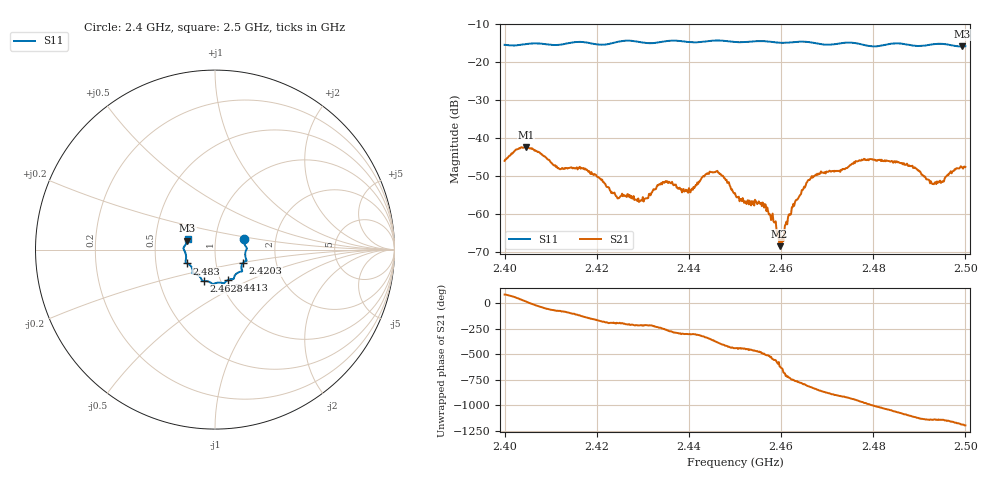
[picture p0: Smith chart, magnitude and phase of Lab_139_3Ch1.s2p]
# Hz S RI R 50
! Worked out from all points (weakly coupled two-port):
!   601 points, 2.4 GHz to 2.5 GHz, reference 50 ohm
!   highest |S21| = -42.23 dB at 2.4047 GHz (marker M1); lowest = -68.4 dB at 2.4597 GHz (marker M2)
!   lowest |S11| = -15.8 dB at 2.4993 GHz (marker M3), VSWR 1.39, Z = 36.5 + j3.72 ohm
!   |S11| at or under -10 dB: start of sweep to end of sweep
!   S12 and S22 are empty: the file has one direction only
!   S11 on the Smith chart (normalised r, x): 2.4 GHz: 1.37, +0.16; 2.4203 GHz: 1.35, -0.21; 2.4413 GHz: 1.09, -0.38; 2.4628 GHz: 0.83, -0.30; 2.483 GHz: 0.72, -0.11; 2.5 GHz: 0.73, +0.09
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2.4e9  0.161 0.0566  0.000605 0.00503  0 0  0 0
2.404667e9  0.1739 0.0144  0.00747 0.002  0 0  0 0
2.411667e9  0.1681 -0.0282  0.000869 -0.00398  0 0  0 0
2.416667e9  0.1759 -0.0615  -0.0025 -0.00324  0 0  0 0
2.420333e9  0.1554 -0.074  -0.00306 -0.000465  0 0  0 0
2.4245e9  0.1494 -0.112  -0.00156 0.000452  0 0  0 0
2.429167e9  0.1397 -0.1236  -0.00112 0.000927  0 0  0 0
2.433333e9  0.108 -0.1483  -0.00129 0.00203  0 0  0 0
2.441333e9  0.0744 -0.1684  0.00134 0.00191  0 0  0 0
2.446e9  0.0494 -0.1883  0.00341 -0.00139  0 0  0 0
2.45e9  0.0292 -0.1838  0.000264 -0.00188  0 0  0 0
2.4565e9  -0.0147 -0.1899  -0.00111 -0.000784  0 0  0 0
2.459667e9  -0.0363 -0.1782  -6.84e-05 0.000375  0 0  0 0
2.460167e9  -0.0407 -0.1766  6.32e-05 0.000397  0 0  0 0
2.462833e9  -0.0627 -0.1746  0.00104 -0.000764  0 0  0 0
2.466667e9  -0.0742 -0.1675  -0.000879 -0.00307  0 0  0 0
2.4775e9  -0.1242 -0.1201  -0.00185 0.00491  0 0  0 0
2.483e9  -0.1547 -0.077  0.00399 0.00315  0 0  0 0
2.483333e9  -0.1571 -0.076  0.00408 0.00296  0 0  0 0
2.493167e9  -0.1742 0.00171  0.00122 -0.00217  0 0  0 0
2.499333e9  -0.1545 0.0496  -0.00143 -0.00386  0 0  0 0
2.5e9  -0.1528 0.0585  -0.002 -0.0037  0 0  0 0
